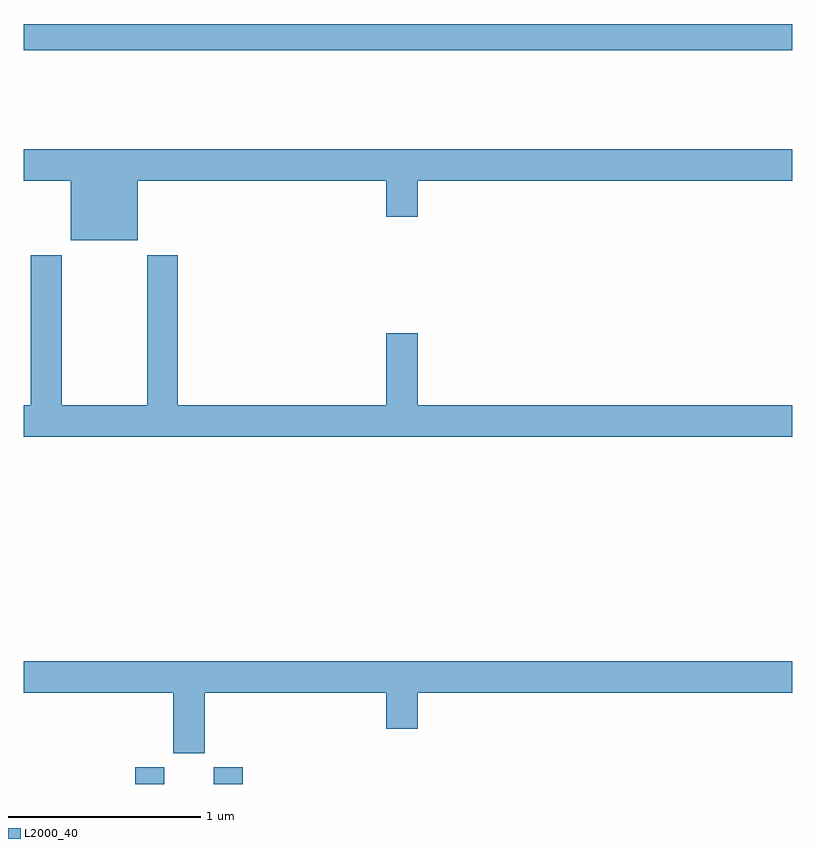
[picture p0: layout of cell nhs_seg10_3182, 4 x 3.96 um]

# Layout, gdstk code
import gdstk
lib = gdstk.Library(unit=1e-6, precision=1e-09)
def R(c, l, rs):  # rectangles x0, y0, x1, y1
    for r in rs: c.add(gdstk.rectangle(r[:2], r[2:], *l))
def P(c, l, *ps):  # polygons
    for p in ps: c.add(gdstk.Polygon(p, *l))
L2000_40 = (2000, 40)

nhs_seg10_3182 = lib.new_cell('nhs_seg10_3182')
R(nhs_seg10_3182, L2000_40, [(283.58,1306.5,283.732,1306.587), (283.988,1306.5,284.141,1306.587), (283,1310.32,287,1310.456)])
P(nhs_seg10_3182, L2000_40, [(283.594,1309.64),(284.888,1309.64),(284.888,1309.452),(285.052,1309.452),(285.052,1309.64),(287,1309.64),(287,1309.804),(283,1309.804),(283,1309.64),(283.244,1309.64),(283.244,1309.331),(283.594,1309.331)],
  [(287,1308.472),(285.052,1308.472),(285.052,1308.847),(284.888,1308.847),(284.888,1308.472),(283.802,1308.472),(283.802,1309.252),(283.642,1309.252),(283.642,1308.472),(283.197,1308.472),(283.197,1309.252),(283.037,1309.252),(283.037,1308.472),(283,1308.472),(283,1308.308),(287,1308.308)],
  [(283.942,1306.976),(284.888,1306.976),(284.888,1306.788),(285.052,1306.788),(285.052,1306.976),(287,1306.976),(287,1307.14),(283,1307.14),(283,1306.976),(283.778,1306.976),(283.778,1306.659),(283.942,1306.659)])

lib.write_gds('nhs_seg10_3182.gds')
